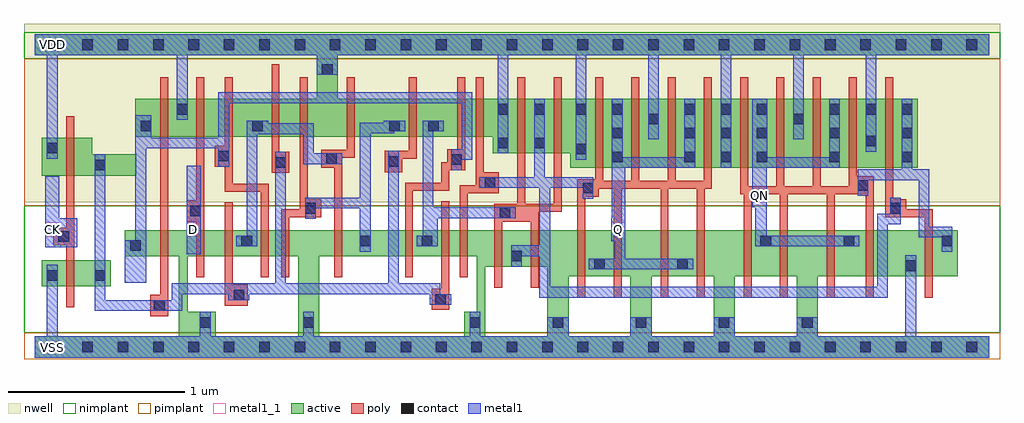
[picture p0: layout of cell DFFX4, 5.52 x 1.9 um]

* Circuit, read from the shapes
.subckt DFFX4 CK D Q QN VDD VSS
M1 n1 CK VSS VSS nfet w=0.145u l=0.045u
M2 VSS n1 n2 VSS nfet w=0.145u l=0.045u
M3 n3 D VSS VSS nfet w=0.145u l=0.045u
M4 n4 n1 n3 VSS nfet w=0.145u l=0.045u
M5 n5 n2 n4 VSS nfet w=0.145u l=0.045u
M6 VSS n6 n5 VSS nfet w=0.145u l=0.045u
M7 n6 n4 VSS VSS nfet w=0.145u l=0.045u
M8 n7 n2 n6 VSS nfet w=0.145u l=0.045u
M9 n8 n1 n7 VSS nfet w=0.145u l=0.045u
M10 VSS n9 n8 VSS nfet w=0.145u l=0.045u
M11 n9 n7 VSS VSS nfet w=0.205u l=0.045u m=2
M12 Q n9 VSS VSS nfet w=0.26u l=0.045u m=4
M13 QN n10 VSS VSS nfet w=0.26u l=0.045u m=4
M14 n10 n9 VSS VSS nfet w=0.26u l=0.045u
M15 n1 CK VDD VDD pfet w=0.215u l=0.045u
M16 VDD n1 n2 VDD pfet w=0.215u l=0.045u
M17 n11 D VDD VDD pfet w=0.215u l=0.045u
M18 n4 n2 n11 VDD pfet w=0.215u l=0.045u
M19 n12 n1 n4 VDD pfet w=0.215u l=0.045u
M20 VDD n6 n12 VDD pfet w=0.215u l=0.045u
M21 n6 n4 VDD VDD pfet w=0.215u l=0.045u
M22 n7 n1 n6 VDD pfet w=0.215u l=0.045u
M23 n13 n2 n7 VDD pfet w=0.215u l=0.045u
M24 VDD n9 n13 VDD pfet w=0.215u l=0.045u
M25 n9 n7 VDD VDD pfet w=0.31u l=0.045u m=2
M26 Q n9 VDD VDD pfet w=0.39u l=0.045u m=4
M27 QN n10 VDD VDD pfet w=0.39u l=0.045u m=4
M28 n10 n9 VDD VDD pfet w=0.39u l=0.045u
.ends

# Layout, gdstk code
import gdstk
lib = gdstk.Library(unit=1e-6, precision=5e-10)
def R(c, l, rs):  # rectangles x0, y0, x1, y1
    for r in rs: c.add(gdstk.rectangle(r[:2], r[2:], *l))
def A(c, l, x, y, w, h, nx, ny, dx, dy):  # array of equal rectangles
    R(c, l, [(x+i*dx, y+j*dy, x+i*dx+w, y+j*dy+h) for i in range(nx) for j in range(ny)])
def P(c, l, *ps):  # polygons
    for p in ps: c.add(gdstk.Polygon(p, *l))
active = (1, 0)
nwell = (2, 0)
poly = (3, 0)
nimplant = (4, 0)
pimplant = (5, 0)
contact = (6, 0)
metal1 = (7, 0)
metal1_1 = (7, 1)

dffx4 = lib.new_cell('DFFX4')
R(dffx4, active, [(0.04,0.345,0.43,0.49)])
P(dffx4, active, [(0,1.77),(5.4,1.77),(5.4,1.65),(1.715,1.65),(1.715,1.405),(4.995,1.405),(4.995,1.015),(3.03,1.015),(3.03,1.095),(2.59,1.095),(2.59,1.19),(0.57,1.19),(0.57,1.405),(1.595,1.405),(1.595,1.65),(0,1.65)],
  [(0.04,1.185),(0.325,1.185),(0.325,1.09),(0.575,1.09),(0.575,0.97),(0.04,0.97)],
  [(0.51,0.66),(5.22,0.66),(5.22,0.4),(4.43,0.4),(4.43,0.06),(5.4,0.06),(5.4,-0.06),(0,-0.06),(0,0.06),(0.815,0.06),(0.815,0.515),(0.865,0.515),(0.865,0.2),(1.025,0.2),(1.025,0.06),(1.49,0.06),(1.49,0.515),(1.61,0.515),(1.61,0.06),(2.43,0.06),(2.43,0.2),(2.5,0.2),(2.5,0.455),(2.55,0.455),(2.55,0.06),(2.9,0.06),(2.9,0.4),(3.02,0.4),(3.02,0.06),(3.37,0.06),(3.37,0.4),(3.49,0.4),(3.49,0.06),(3.84,0.06),(3.84,0.4),(3.96,0.4),(3.96,0.06),(4.31,0.06),(4.31,0.4),(2.9,0.4),(2.9,0.455),(2.5,0.455),(2.5,0.515),(0.51,0.515)])
R(dffx4, nwell, [(-0.06,0.82,5.46,1.83)])
P(dffx4, poly, [(0.71,1.525),(0.755,1.525),(0.755,0.175),(0.655,0.175),(0.655,0.295),(0.71,0.295)],
  [(0.915,1.525),(0.96,1.525),(0.96,0.395),(0.915,0.395),(0.915,0.71),(0.86,0.71),(0.86,0.83),(0.915,0.83)],
  [(1.075,1.525),(1.12,1.525),(1.12,0.925),(1.325,0.925),(1.325,0.395),(1.28,0.395),(1.28,0.88),(1.075,0.88),(1.075,1.02),(1.02,1.02),(1.02,1.14),(1.075,1.14)],
  [(1.34,1.6),(1.385,1.6),(1.385,1.105),(1.44,1.105),(1.44,0.985),(1.34,0.985)],
  [(1.5,1.525),(1.545,1.525),(1.545,0.835),(1.62,0.835),(1.62,0.735),(1.44,0.735),(1.44,0.395),(1.395,0.395),(1.395,0.78),(1.5,0.78)],
  [(1.765,1.525),(1.81,1.525),(1.81,1.07),(1.74,1.07),(1.74,0.395),(1.695,0.395),(1.695,1.015),(1.62,1.015),(1.62,1.115),(1.765,1.115)],
  [(2.115,1.525),(2.16,1.525),(2.16,1.065),(2.08,1.065),(2.08,0.99),(1.98,0.99),(1.98,1.11),(2.115,1.11)],
  [(2.39,1.525),(2.435,1.525),(2.435,1),(2.345,1),(2.345,0.885),(2.14,0.885),(2.14,0.395),(2.095,0.395),(2.095,0.93),(2.3,0.93),(2.3,1.045),(2.335,1.045),(2.335,1.12),(2.39,1.12)],
  [(2.495,1.525),(2.54,1.525),(2.54,0.99),(2.625,0.99),(2.625,0.87),(2.45,0.87),(2.45,0.395),(2.405,0.395),(2.405,0.915),(2.495,0.915)],
  [(2.73,1.525),(2.775,1.525),(2.775,0.81),(2.935,0.81),(2.935,1.525),(2.98,1.525),(2.98,0.765),(2.85,0.765),(2.85,0.335),(2.805,0.335),(2.805,0.71),(2.645,0.71),(2.645,0.335),(2.6,0.335),(2.6,0.81),(2.73,0.81)],
  [(3.17,1.525),(3.215,1.525),(3.215,0.94),(3.375,0.94),(3.375,1.525),(3.42,1.525),(3.42,0.94),(3.58,0.94),(3.58,1.525),(3.625,1.525),(3.625,0.94),(3.785,0.94),(3.785,1.525),(3.83,1.525),(3.83,0.895),(3.79,0.895),(3.79,0.28),(3.745,0.28),(3.745,0.895),(3.585,0.895),(3.585,0.28),(3.54,0.28),(3.54,0.895),(3.32,0.895),(3.32,0.28),(3.275,0.28),(3.275,0.895),(3.19,0.895),(3.19,0.85),(3.115,0.85),(3.115,0.28),(3.07,0.28),(3.07,0.95),(3.17,0.95)],
  [(3.99,1.525),(4.035,1.525),(4.035,0.91),(4.195,0.91),(4.195,1.525),(4.24,1.525),(4.24,0.91),(4.4,0.91),(4.4,1.525),(4.445,1.525),(4.445,0.91),(4.605,0.91),(4.605,1.525),(4.65,1.525),(4.65,0.965),(4.745,0.965),(4.745,0.28),(4.7,0.28),(4.7,0.865),(4.525,0.865),(4.525,0.28),(4.48,0.28),(4.48,0.865),(4.26,0.865),(4.26,0.28),(4.215,0.28),(4.215,0.865),(4.055,0.865),(4.055,0.28),(4.01,0.28),(4.01,0.865),(3.99,0.865)],
  [(4.81,1.525),(4.855,1.525),(4.855,0.835),(4.93,0.835),(4.93,0.78),(5.08,0.78),(5.08,0.28),(5.035,0.28),(5.035,0.735),(4.81,0.735)],
  [(0.18,1.305),(0.225,1.305),(0.225,0.225),(0.18,0.225),(0.18,0.575),(0.105,0.575),(0.105,0.675),(0.18,0.675)],
  [(1.075,0.82),(1.12,0.82),(1.12,0.355),(1.205,0.355),(1.205,0.235),(1.075,0.235)],
  [(2.3,0.825),(2.345,0.825),(2.345,0.21),(2.245,0.21),(2.245,0.33),(2.3,0.33)])
R(dffx4, nimplant, [(-0.06,0.08,5.46,0.8), (-0.06,1.63,5.46,1.78)])
R(dffx4, pimplant, [(-0.06,-0.07,5.46,0.08), (-0.06,0.8,5.46,1.63)])
A(dffx4, contact, 0.07, -0.03, 0.06, 0.06, 27, 2, 0.2, 1.71)
A(dffx4, contact, 2.46, 0.11, 0.06, 0.06, 5, 1, 0.47, 0)
A(dffx4, contact, 3.265, 1.045, 0.06, 0.06, 1, 3, 0, 0.135)
A(dffx4, contact, 3.675, 1.045, 0.06, 0.06, 3, 3, 0.205, 0.135)
A(dffx4, contact, 4.495, 1.315, 0.06, 0.06, 3, 1, 0.205, 0)
R(dffx4, contact, [(0.935,0.11,0.995,0.17), (1.52,0.11,1.58,0.17), (0.675,0.205,0.735,0.265), (2.265,0.24,2.325,0.3), (1.125,0.265,1.185,0.325), (0.07,0.375,0.13,0.435), (0.34,0.375,0.4,0.435), (4.925,0.43,4.985,0.49), (3.165,0.44,3.225,0.5), (3.635,0.44,3.695,0.5), (2.695,0.485,2.755,0.545), (0.54,0.545,0.6,0.605), (1.17,0.57,1.23,0.63), (1.84,0.57,1.9,0.63), (2.19,0.57,2.25,0.63), (4.105,0.57,4.165,0.63), (4.575,0.57,4.635,0.63), (5.13,0.57,5.19,0.63), (0.135,0.595,0.195,0.655), (2.63,0.73,2.69,0.79), (0.88,0.74,0.94,0.8), (1.53,0.755,1.59,0.815), (4.84,0.755,4.9,0.815), (3.1,0.87,3.16,0.93), (4.655,0.885,4.715,0.945), (2.545,0.9,2.605,0.96), (0.34,1,0.4,1.06), (1.36,1.015,1.42,1.075), (2,1.02,2.06,1.08), (2.355,1.03,2.415,1.09), (1.65,1.035,1.71,1.095), (4.495,1.045,4.555,1.105), (4.905,1.045,4.965,1.105), (1.04,1.05,1.1,1.11), (3.06,1.09,3.12,1.15), (0.07,1.095,0.13,1.155), (2.62,1.125,2.68,1.185), (2.825,1.125,2.885,1.185), (4.7,1.135,4.76,1.195), (4.495,1.18,4.555,1.24), (4.905,1.18,4.965,1.24), (0.6,1.22,0.66,1.28), (1.23,1.22,1.29,1.28), (2.005,1.22,2.065,1.28), (2.225,1.22,2.285,1.28), (3.47,1.26,3.53,1.32), (4.29,1.26,4.35,1.32), (0.805,1.315,0.865,1.375), (2.62,1.315,2.68,1.375), (2.825,1.315,2.885,1.375), (3.06,1.315,3.12,1.375), (1.625,1.54,1.685,1.6)])
R(dffx4, metal1, [(0.86,0.525,0.94,1.025)])
P(dffx4, metal1, [(0,1.77),(5.4,1.77),(5.4,1.65),(4.76,1.65),(4.76,1.105),(4.7,1.105),(4.7,1.65),(4.35,1.65),(4.35,1.175),(4.29,1.175),(4.29,1.65),(3.94,1.65),(3.94,1.015),(3.88,1.015),(3.88,1.65),(3.53,1.65),(3.53,1.175),(3.47,1.175),(3.47,1.65),(3.12,1.65),(3.12,1.06),(3.06,1.06),(3.06,1.65),(2.68,1.65),(2.68,1.095),(2.62,1.095),(2.62,1.65),(1.715,1.65),(1.715,1.54),(1.595,1.54),(1.595,1.65),(0.865,1.65),(0.865,1.285),(0.805,1.285),(0.805,1.65),(0.13,1.65),(0.13,1.065),(0.07,1.065),(0.07,1.65),(0,1.65)],
  [(1.04,1.44),(2.475,1.44),(2.475,1.06),(2.415,1.06),(2.415,1),(2.355,1),(2.355,1.12),(2.415,1.12),(2.415,1.38),(1.1,1.38),(1.1,1.02),(1.04,1.02),(1.04,1.125),(0.63,1.125),(0.63,0.365),(0.51,0.365),(0.51,0.605),(0.57,0.605),(0.57,1.31),(0.66,1.31),(0.66,1.185),(1.04,1.185)],
  [(0.34,1.09),(0.4,1.09),(0.4,0.265),(0.775,0.265),(0.775,0.36),(1.36,0.36),(1.36,1.105),(1.42,1.105),(1.42,0.36),(2,0.36),(2,1.11),(2.06,1.11),(2.06,0.36),(2.295,0.36),(2.295,0.3),(2.355,0.3),(2.355,0.24),(2.235,0.24),(2.235,0.3),(1.215,0.3),(1.215,0.265),(1.095,0.265),(1.095,0.3),(0.835,0.3),(0.835,0.205),(0.34,0.205)],
  [(0.06,0.965),(0.14,0.965),(0.14,0.73),(0.24,0.73),(0.24,0.565),(0.06,0.565)],
  [(0.07,0.465),(0.13,0.465),(0.13,0.06),(0.935,0.06),(0.935,0.2),(0.995,0.2),(0.995,0.06),(1.52,0.06),(1.52,0.2),(1.58,0.2),(1.58,0.06),(2.46,0.06),(2.46,0.2),(2.52,0.2),(2.52,0.06),(2.9,0.06),(2.9,0.17),(3.02,0.17),(3.02,0.06),(3.37,0.06),(3.37,0.17),(3.49,0.17),(3.49,0.06),(3.84,0.06),(3.84,0.17),(3.96,0.17),(3.96,0.06),(4.31,0.06),(4.31,0.17),(4.43,0.17),(4.43,0.06),(4.925,0.06),(4.925,0.52),(4.985,0.52),(4.985,0.06),(5.4,0.06),(5.4,-0.06),(0,-0.06),(0,0.06),(0.07,0.06)],
  [(1.2,1.28),(1.32,1.28),(1.32,1.265),(1.58,1.265),(1.58,1.095),(1.74,1.095),(1.74,1.035),(1.52,1.035),(1.52,1.205),(1.26,1.205),(1.26,0.57),(1.14,0.57),(1.14,0.63),(1.2,0.63)],
  [(1.975,1.28),(2.095,1.28),(2.095,1.22),(2.035,1.22),(2.035,1.21),(1.9,1.21),(1.9,0.54),(1.84,0.54),(1.84,0.785),(1.59,0.785),(1.59,0.725),(1.53,0.725),(1.53,0.845),(1.84,0.845),(1.84,1.27),(1.975,1.27)],
  [(2.195,1.28),(2.315,1.28),(2.315,1.22),(2.255,1.22),(2.255,0.79),(2.72,0.79),(2.72,0.73),(2.28,0.73),(2.28,0.57),(2.16,0.57),(2.16,0.63),(2.195,0.63)],
  [(2.825,1.405),(2.885,1.405),(2.885,0.96),(3.16,0.96),(3.16,0.84),(3.1,0.84),(3.1,0.9),(2.915,0.9),(2.915,0.34),(4.765,0.34),(4.765,0.755),(4.84,0.755),(4.84,0.845),(4.9,0.845),(4.9,0.695),(4.825,0.695),(4.825,0.28),(2.855,0.28),(2.855,0.515),(2.755,0.515),(2.755,0.455),(2.695,0.455),(2.695,0.575),(2.855,0.575),(2.855,0.9),(2.515,0.9),(2.515,0.96),(2.825,0.96)],
  [(3.265,1.405),(3.325,1.405),(3.325,1.075),(3.675,1.075),(3.675,1.405),(3.735,1.405),(3.735,1.015),(3.34,1.015),(3.34,0.5),(3.725,0.5),(3.725,0.44),(3.135,0.44),(3.135,0.5),(3.28,0.5),(3.28,0.6),(3.26,0.6),(3.26,0.73),(3.265,0.73)],
  [(4.06,1.405),(4.145,1.405),(4.145,1.075),(4.495,1.075),(4.495,1.405),(4.555,1.405),(4.555,1.015),(4.14,1.015),(4.14,0.63),(4.665,0.63),(4.665,0.57),(4.075,0.57),(4.075,0.79),(4.06,0.79)],
  [(4.905,1.405),(4.965,1.405),(4.965,1.005),(5.06,1.005),(5.06,0.68),(5.19,0.68),(5.19,0.54),(5.13,0.54),(5.13,0.62),(5,0.62),(5,0.945),(4.715,0.945),(4.715,0.855),(4.655,0.855),(4.655,1.005),(4.905,1.005)])
R(dffx4, metal1_1, [(0.06,-0.04,0.14,0.04), (0.06,0.625,0.14,0.705), (0.86,0.625,0.94,0.705), (3.26,0.625,3.34,0.705), (4.06,0.815,4.14,0.895), (0.06,1.67,0.14,1.75)])
dffx4.add(gdstk.Label('QN', (4.1,0.855), layer=7, texttype=1))
dffx4.add(gdstk.Label('Q', (3.3,0.665), layer=7, texttype=1))
dffx4.add(gdstk.Label('D', (0.9,0.665), layer=7, texttype=1))
dffx4.add(gdstk.Label('CK', (0.1,0.665), layer=7, texttype=1))
dffx4.add(gdstk.Label('VDD', (0.1,1.71), layer=7, texttype=1))
dffx4.add(gdstk.Label('VSS', (0.1,0), layer=7, texttype=1))
dffx4.add(gdstk.Label('DFFX4', (0,0), layer=63, texttype=0))

lib.write_gds('DFFX4.gds')
